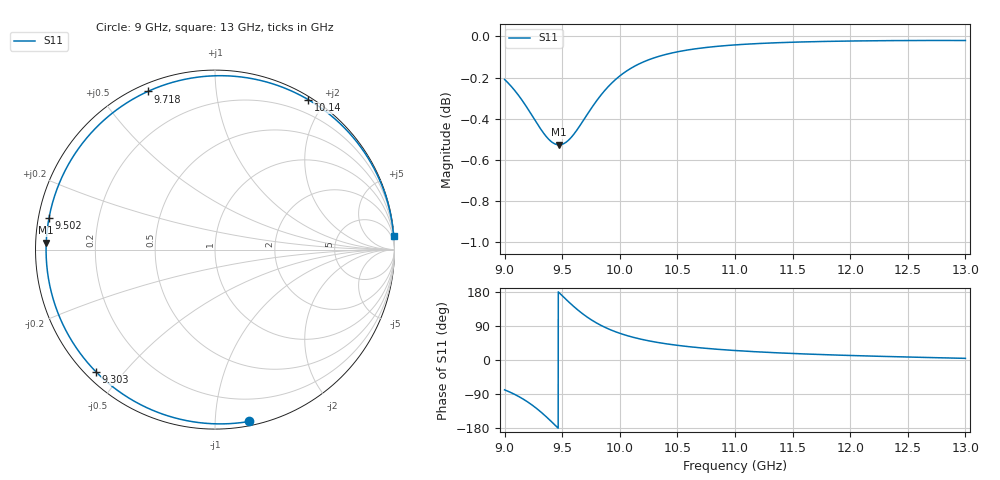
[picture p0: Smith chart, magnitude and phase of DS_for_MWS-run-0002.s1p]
! TOUCHSTONE file generated by CST DESIGN STUDIO
! Date and time: Wed Feb  5 13:31:10 2025
! Project name: C:\Work\MatlabApps\UnitCellOptimizationMatlab\CST\unitcell.cst
! Tree item: Tasks\Sweep1\SPara1\S-Parameters
! Header version: 2024
! Port assignment regex: !\s*Touchstone port\s*([0-9]+)\s*=\s*(CST MWS port|CST DES external port|CST DES block port)\s*(.+)\s* \(\"(.*)\"\)(\s*mode\s*([0-9]+))?.*
! Touchstone port assignment:
! Touchstone port 1 = CST DES external port 1 ("")
# GHz S MA R 50
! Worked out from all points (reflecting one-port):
!   4001 points, 9 GHz to 13 GHz, reference 50 ohm
!   lowest |S11| = -0.5 dB at 9.473 GHz (marker M1), VSWR 33.00, Z = 1.52 + j1.01 ohm
!   phase of S11 starts at -79 deg and turns -277 deg over the sweep
!   S11 on the Smith chart (normalised r, x): 9 GHz: 0.03, -1.22; 9.303 GHz: 0.03, -0.42; 9.502 GHz: 0.03, +0.10; 9.718 GHz: 0.03, +0.66; 10.14 GHz: 0.03, +1.80; 13 GHz: 1, +26
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9  0.9762 -78.8
9.074  0.9713 -88.7
9.171  0.9632 -105.0
9.239  0.9567 -118.9
9.303  0.9505 -134.2
9.348  0.9466 -146.0
9.395  0.9434 -159.2
9.435  0.9417 -171.0
9.473  0.9412 177.7
9.5  0.9415 169.7
9.502  0.9415 169.1
9.554  0.9436 153.9
9.613  0.9478 137.8
9.665  0.9524 124.8
9.718  0.9574 113.0
9.774  0.9625 102.0
9.836  0.9677 91.5
9.916  0.9734 80.1
10  0.9782 70.4
10.14  0.9839 58.1
10.303  0.9882 47.7
10.5  0.9915 38.7
10.722  0.9937 31.5
11  0.9953 25.0
11.5  0.9968 17.2
12  0.9975 11.9
12.5  0.9977 7.8
13  0.9978 4.4
